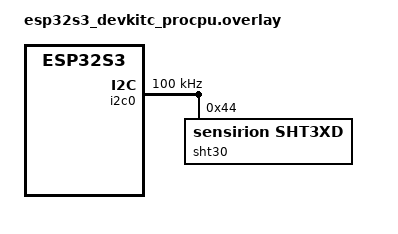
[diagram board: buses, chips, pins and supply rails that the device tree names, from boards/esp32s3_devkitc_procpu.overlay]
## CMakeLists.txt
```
# SPDX-License-Identifier: Apache-2.0

cmake_minimum_required(VERSION 3.20.0)
find_package(Zephyr REQUIRED HINTS $ENV{ZEPHYR_BASE})
project(sht30)

FILE(GLOB app_sources src/*.c)
target_sources(app PRIVATE ${app_sources})
```

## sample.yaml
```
sample:
  name: I2C sensor (SHT30)
  description: "Read temperature and humidity from an SHT30 with the sensor API"
common:
  build_only: true
  tags: efz
  platform_allow:
    - efz_esp32s3/esp32s3/procpu
    - esp32s3_devkitc/esp32s3/procpu
  integration_platforms:
    - efz_esp32s3/esp32s3/procpu
    - esp32s3_devkitc/esp32s3/procpu
tests:
  sample.efz.i2c_sensor:
    tags: efz
```

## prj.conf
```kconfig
CONFIG_I2C=y
CONFIG_SENSOR=y
CONFIG_SHT3XD=y
CONFIG_LOG=y
```

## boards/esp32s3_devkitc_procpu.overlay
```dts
/*
 * ESP32-S3-DevKitC: an SHT30 module wired to I2C0 (SDA GPIO1, SCL GPIO2),
 * ADDR pin low -> address 0x44.
 *
 * The EFZ-ESP32S3 needs no overlay: its board devicetree already has
 * the on-board SHT30 at 0x44 with the node label "sht30".
 */

&i2c0 {
	status = "okay";
	clock-frequency = <I2C_BITRATE_STANDARD>;

	sht30: sht3xd@44 {
		compatible = "sensirion,sht3xd";
		reg = <0x44>;
	};
};
```

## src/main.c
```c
#include <zephyr/drivers/sensor.h>
#include <zephyr/logging/log.h>

LOG_MODULE_REGISTER(sht30_demo, LOG_LEVEL_INF);

/* Step 1: get the device (resolved at compile time from DTS) */
static const struct device *sht30 = DEVICE_DT_GET(DT_NODELABEL(sht30));

int main(void)
{
    struct sensor_value temp, hum;

    if (!device_is_ready(sht30)) {
        LOG_ERR("SHT30 not ready");
        return -ENODEV;
    }

    while (1) {
        /* Step 2: trigger a measurement */
        sensor_sample_fetch(sht30);

        /* Step 3: read the measured values */
        sensor_channel_get(sht30, SENSOR_CHAN_AMBIENT_TEMP, &temp);
        sensor_channel_get(sht30, SENSOR_CHAN_HUMIDITY,     &hum);

        LOG_INF("T: %d.%06d C  RH: %d.%06d %%",
                temp.val1, temp.val2,
                hum.val1, hum.val2);

        k_sleep(K_SECONDS(10));
    }
}
```
